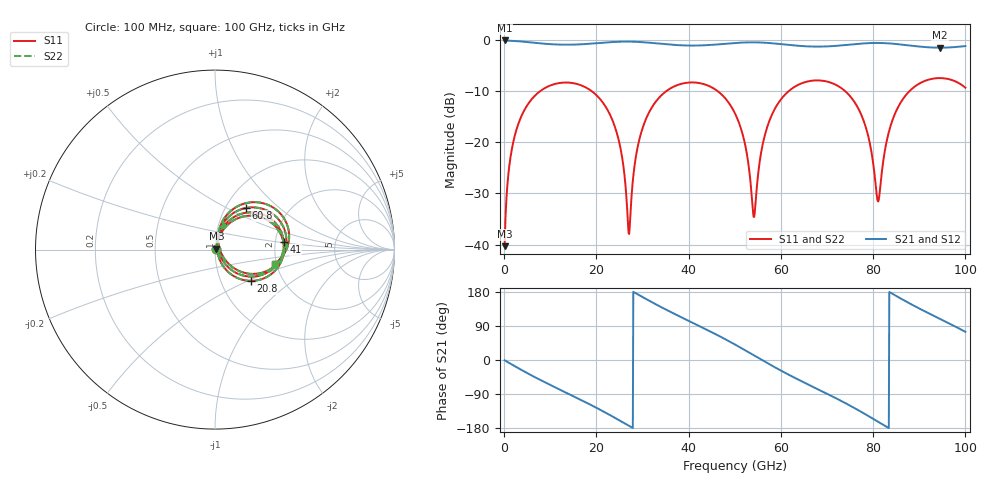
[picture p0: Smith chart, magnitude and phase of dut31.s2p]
! Touchstone file exported from HFSS 2026.1.0
!  File:  C:/ffzhzh/LocalFiles/Ansys_Project_Files/temp_train_TSV_RDL_31_1783441013_34316.aedt
!  Generated:  12:26:03 AM Jul  8, 2026
!  Design:  TSV_RDL
!  Project:  temp_train_TSV_RDL_31_1783441013_34316
! Variables:
!  h_bsmrdl = 4.3um
!  h_ox = 20um
!  h_rdl = 5um
!  h_sub = 62.82um
!  h_tmrdl = 3.77um
!  h_tsv = 62.82um
!  h_via = 3um
!  l_bsmrdl = 169.61um
!  l_sub = 2203.02um
!  l_tmrdl = 289.31um
!  m_sub = 200um
!  pitch = 45.64um
!  r_tsv = 10.91um
!  s_tmrdl = 10um
!  w_bsmrdl = 19.26um
!  w_sub = 500um
!  w_tmrdl = 26.39um
!  x_tsv_center1 = 302.505um
!  x_tsv_center2 = 491.375um
!  x_tsv_center3 = 807.075um
!  x_tsv_center4 = 995.945um
!  x_tsv_center5 = 1311.645um
!  x_tsv_center6 = 1500.515um
# GHz S MA R 50.000000
! Terminal data exported
! Port[1] = TM_RDL1_1_T1
! Port[2] = TM_RDL5_1_T1
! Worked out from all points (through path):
!   1000 points, 100 MHz to 100 GHz, reference 50 ohm
!   highest |S21| = -0.07 dB at 100 MHz (marker M1); lowest = -1.5 dB at 94.5 GHz (marker M2)
!   group delay of S21, straight-line fit = 18 ps
!   lowest |S11| = -40.3 dB at 100 MHz (marker M3), VSWR 1.02, Z = 50.8 + j0.585 ohm
!   |S11| at or under -10 dB: 19 GHz to 35.13 GHz (16.13 GHz wide, 59.6 % of centre); 46.31 GHz to 61.67 GHz (15.36 GHz wide, 28.5 % of centre); 73.95 GHz to 87.86 GHz (13.91 GHz wide, 17.2 % of centre) (the widest 3 of 4)
!   |S22| runs from -40.3 to -7.4 dB; largest |S21 - S12| = 2.8e-13
!   S11 on the Smith chart (normalised r, x): 100 MHz: 1.02, +0.01; 20.8 GHz: 1.39, -0.52; 41 GHz: 2.23, +0.22; 60.8 GHz: 1.24, +0.63; 100 GHz: 1.96, -0.35
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0.1  0.009642 36.7  0.9923 -0.8  0.9923 -0.8  0.009642 36.7
! Gamma 0 0 0 0
! Port Impedance 50 0 50 0
1.6  0.08239 70.9  0.9856 -11.4  0.9856 -11.4  0.08239 70.9
4.4  0.2072 55.3  0.9632 -30.6  0.9632 -30.6  0.2072 55.3
16.8  0.3595 -17.5  0.9106 -106.2  0.9106 -106.2  0.3595 -17.6
20.8  0.2649 -41.2  0.9385 -131.2  0.9385 -131.2  0.2649 -41.2
24.8  0.1069 -63.3  0.9637 -158.0  0.9637 -158.0  0.1069 -63.5
27.1  0.0127 13.6  0.9666 -173.9  0.9666 -173.9  0.0124 13.5
29.3  0.1061 72.7  0.9589 170.9  0.9589 170.9  0.106 72.8
33.4  0.2673 50.1  0.926 143.6  0.926 143.6  0.2672 50.2
41  0.3853 6.3  0.8845 97.4  0.8845 97.4  0.3852 6.3
50.1  0.1897 -46.0  0.9375 40.5  0.9375 40.5  0.1896 -45.8
54.2  0.01864 18.4  0.9514 12.0  0.9514 12.0  0.01942 18.3
56.7  0.1257 75.2  0.9419 -5.5  0.9419 -5.5  0.1259 74.8
60.8  0.2898 53.2  0.906 -33.1  0.906 -33.1  0.29 53.0
66.7  0.4006 19.4  0.8656 -69.4  0.8656 -69.4  0.4006 19.2
76.5  0.226 -36.0  0.9173 -130.5  0.9173 -130.5  0.226 -36.4
79  0.1117 -46.0  0.9341 -148.0  0.9341 -148.0  0.1114 -46.7
81  0.02659 8.5  0.9381 -162.4  0.9381 -162.4  0.02541 8.0
83.4  0.1259 77.6  0.9292 -179.7  0.9292 -179.7  0.1257 78.0
87.7  0.3108 56.4  0.8877 150.7  0.8877 150.7  0.3107 56.4
94.5  0.4251 17.8  0.8436 108.5  0.8436 108.5  0.425 17.7
100  0.342 -13.3  0.8743 74.3  0.8743 74.3  0.3419 -13.4
